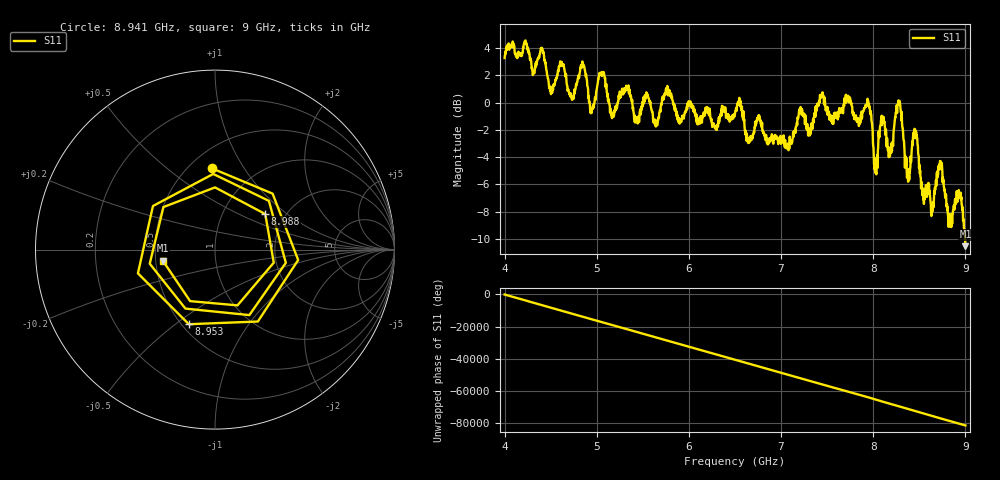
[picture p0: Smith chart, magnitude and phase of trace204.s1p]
! Created with skrf 1.8.0 (http://scikit-rf.org).
# Hz S RI R 50.0
!freq ReS11 ImS11
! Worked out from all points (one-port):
!   1601 points, 4 GHz to 9 GHz, reference 50 ohm
!   lowest |S11| = -10.5 dB at 9 GHz (marker M1), VSWR 1.85, Z = 27.3 - j3.74 ohm
!   |S11| at or under -10 dB: 8.997339 GHz to end of sweep
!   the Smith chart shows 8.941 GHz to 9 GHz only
!   S11 on the Smith chart (normalised r, x): 8.941 GHz: 0.64, +0.73; 8.953 GHz: 0.54, -0.56; 8.988 GHz: 1.58, +0.71; 9 GHz: 0.55, -0.07
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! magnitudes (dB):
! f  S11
! 4 GHz  3.3
! 4.403 GHz  3.9
! 4.506 GHz  0.8
! 4.625 GHz  2.8
! 4.728 GHz  0.3
! 4.853 GHz  2.8
! 4.941 GHz  -0.6
! 5.053 GHz  2.2
! 5.162 GHz  -1.1
! 5.25 GHz  0.8
! 5.875 GHz  -0.9
! 6.5 GHz  -0.8
! 7.125 GHz  -2.6
! 7.75 GHz  0.3
! 7.953 GHz  -0.1
! 8.028 GHz  -5.0
! 8.097 GHz  -1.0
! 8.191 GHz  -3.4
! 8.278 GHz  -0.1
! 8.375 GHz  -4.9
! 8.456 GHz  -2.0
! 8.544 GHz  -7.1
! 8.725 GHz  -4.3
! 8.834 GHz  -8.9
! 8.941 GHz  -6.9
! 8.953 GHz  -7.1
! 8.988 GHz  -9.3
! 9 GHz  -10.5
